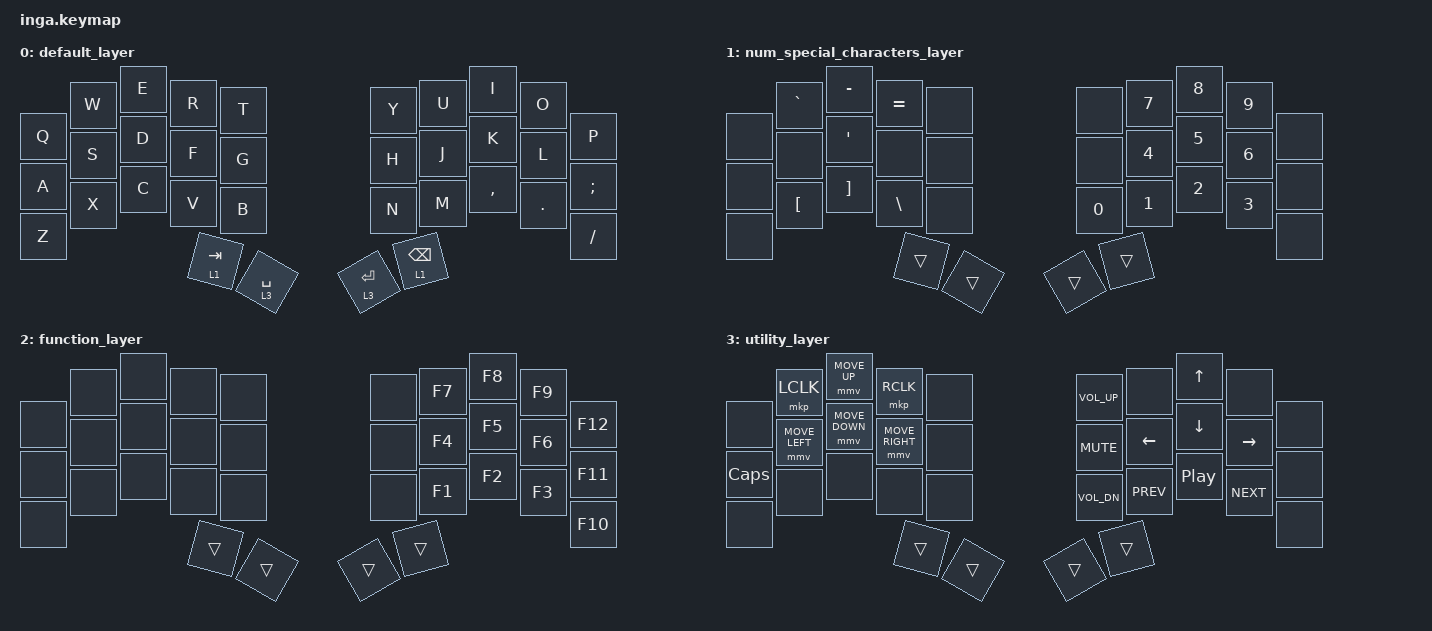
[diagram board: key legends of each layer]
// This file was generated from a template. Edit it to match your keyboard.
// See https://zmk.dev/docs/development/hardware-integration/new-shield for more instructions.

#include <behaviors.dtsi>
#include <dt-bindings/zmk/keys.h>
#include <behaviors/rgbled_widget.dtsi>
#include <dt-bindings/zmk/pointing.h>
#include "combos/modifiers.dtsi"
#include "combos/battery_indicator.dtsi"

// Macros
#define KEYS_L 0 1 2 3 4 10 11 12 13 14 20 21 22 23 24 30 31
#define KEYS_R 5 6 7 8 9 15 16 17 18 19 25 26 27 28 29 32 33
#define KEYS_T 30 31 32 33


/ {
    combos {
        compatible = "zmk,combos";
	// Battery
	combo_battery {
            timeout-ms = <100>;
	    key-positions = <30 31>;
	    bindings = <&ind_bat>;
	};
    };

    keymap {
        compatible = "zmk,keymap";

	// Default layer
        default_layer {
            bindings = <
		// ┌───────┬───────┬───────┬─────────┬───────────┐   ┌─────────┬──────────┬─────────┬───────┬────────┐  
		// │   q   │   w   │   e   │    r    │     t     │   │    y    │     u    │    i    │   o   │    p   │
		     &kp Q   &kp W   &kp E    &kp R      &kp T          &kp Y     &kp U     &kp I    &kp O   &kp P
		// ├───────┼───────┼───────┼─────────┼───────────┤   ├─────────┼──────────┼─────────┼───────┼────────┤ 
		// │   a   │   s   │   d   │    f    │     g     │   │    h    │     j    │    k    │   l   │    ;   │
		     &kp A   &kp S   &kp D    &kp F      &kp G          &kp H     &kp J     &kp K    &kp L  &kp SEMI
		// ├───────┼───────┼───────┼─────────┼───────────┤   ├─────────┼──────────┼─────────┼───────┼────────┤ 
		// │   z   │   x   │   c   │    v    │     b     │   │    n    │     m    │    ,    │   .   │    /   │
		     &kp Z   &kp X   &kp C    &kp V      &kp B          &kp N     &kp M   &kp COMMA &kp DOT &kp FSLH
		// └───────┴───────┴───────┼─────────┼───────────┤   ├─────────┼──────────┼─────────┴───────┴────────┘
		//                         │   tab   │   space   │   │  enter  │   bksp   │                        
		                            &lt 1 TAB &lt 3 SPACE     &lt 3 RET &lt 1 BSPC
		//                         └─────────┴───────────┘   └─────────┴──────────┘
            >;
        };
	
	
	// First layer (Numbers and special characters)
	num_special_characters_layer {
            bindings = <
		// ┌──────┬─────────┬─────────┬─────────┬──────┐   ┌──────┬───────┬───────┬───────┬──────┐  
		// │      │    `    │    -    │    =    │      │   │      │   7   │   8   │   9   │      │
		     &none &kp GRAVE &kp MINUS &kp EQUAL  &none     &none  &kp N7  &kp N8  &kp N9  &none
		// ├──────┼─────────┼─────────┼─────────┼──────┤   ├──────┼───────┼───────┼───────┼──────┤ 
		// │      │         │    '    │         │      │   │      │   4   │   5   │   6   │      │
		     &none   &none    &kp SQT    &none    &none     &none  &kp N4  &kp N5  &kp N6  &none 
		// ├──────┼─────────┼─────────┼─────────┼──────┤   ├──────┼───────┼───────┼───────┼──────┤ 
		// │      │    [    │    ]    │    \    │      │   │  0   │   1   │   2   │   3   │      │
		     &none  &kp LBKT  &kp RBKT  &kp BSLH  &none     &kp N0  &kp N1  &kp N2  &kp N3 &none  
		// └──────┴─────────┴─────────┼─────────┼──────┤   ├──────┼───────┼───────┴───────┴──────┘
		//                            │         │      │   │      │       │                        
		                                 &trans  &trans     &trans  &trans  
		//                            └─────────┴──────┘   └──────┴───────┘
            >;
	};

	// Second layer (Function layer)
	function_layer {
            bindings = <
		// ┌──────┬──────┬──────┬──────┬──────┐   ┌──────┬───────┬───────┬───────┬───────┐  
		// │      │      │      │      │      │   │      │  F7   │  F8   │  F9   │  F12  │
		    &none  &none  &none  &none  &none      &none  &kp F7  &kp F8  &kp F9  &kp F12 
		// ├──────┼──────┼──────┼──────┼──────┤   ├──────┼───────┼───────┼───────┼───────┤ 
		// │      │      │      │      │      │   │      │  F4   │  F5   │  F6   │  F11  │
		    &none  &none  &none  &none  &none      &none  &kp F4  &kp F5  &kp F6  &kp F11 
		// ├──────┼──────┼──────┼──────┼──────┤   ├──────┼───────┼───────┼───────┼───────┤ 
		// │      │      │      │      │      │   │      │  F1   │  F2   │  F3   │  F10  │
		    &none  &none  &none  &none  &none      &none  &kp F1  &kp F2  &kp F3  &kp F10  
		// └──────┴──────┴──────┼──────┼──────┤   ├──────┼───────┼───────┴───────┴───────┘
		//                      │      │      │   │      │       │                        
		                         &trans &trans     &trans  &trans  
		//                      └──────┴──────┘   └──────┴───────┘
            >;
	};

	// Last layer (Utility layer)
	utility_layer {
            bindings = <
		// ┌────────┬──────────────┬──────────────┬───────────────┬──────┐   ┌────────────┬──────────┬──────────┬──────────┬──────┐  
		// │        │   LEFT CLK   │   MOUSE UP   │    RIGHT CLK  │      │   │   VOL UP   │          │     ⇑    │          │      
		      &none     &mkp LCLK    &mmv MOVE_UP      &mkp RCLK   &none      &kp C_VOL_UP    &none    &kp UP       &none    &none
		// ├────────┼──────────────┼──────────────┼───────────────┼──────┤   ├────────────┼──────────┼──────────┼──────────┼──────┤ 
		// │  CAPS  │  MOUSE LEFT  │  MOUSE DOWN  │  MOUSE RIGHT  │      │   │    MUTE    │     ⇐    │     ⇓    │     ⇒    │      │
		    &kp CAPS &mmv MOVE_LEFT &mmv MOVE_DOWN &mmv MOVE_RIGHT &none       &kp C_MUTE   &kp LEFT   &kp DOWN   &kp RIGHT  &none 
		// ├────────┼──────────────┼──────────────┼───────────────┼──────┤   ├────────────┼──────────┼──────────┼──────────┼──────┤ 
		// │        │              │              │               │      │   │  VOL DOWN  │ PREVIOUS │PLAY/PAUSE│   NEXT   │      │
		     &none       &none           &none          &none      &none      &kp C_VOL_DN &kp C_PREV  &kp C_PP  &kp C_NEXT  &none  
		// └────────┴──────────────┴──────────────┼───────────────┼──────┤   ├────────────┼──────────┼──────────┴──────────┴──────┘
		//                                        │               │      │   │            │          │                        
		                                               &trans      &trans        &trans       &trans  
		//                                        └───────────────┴──────┘   └────────────┴──────────┘
            >;
	};

    };
};
